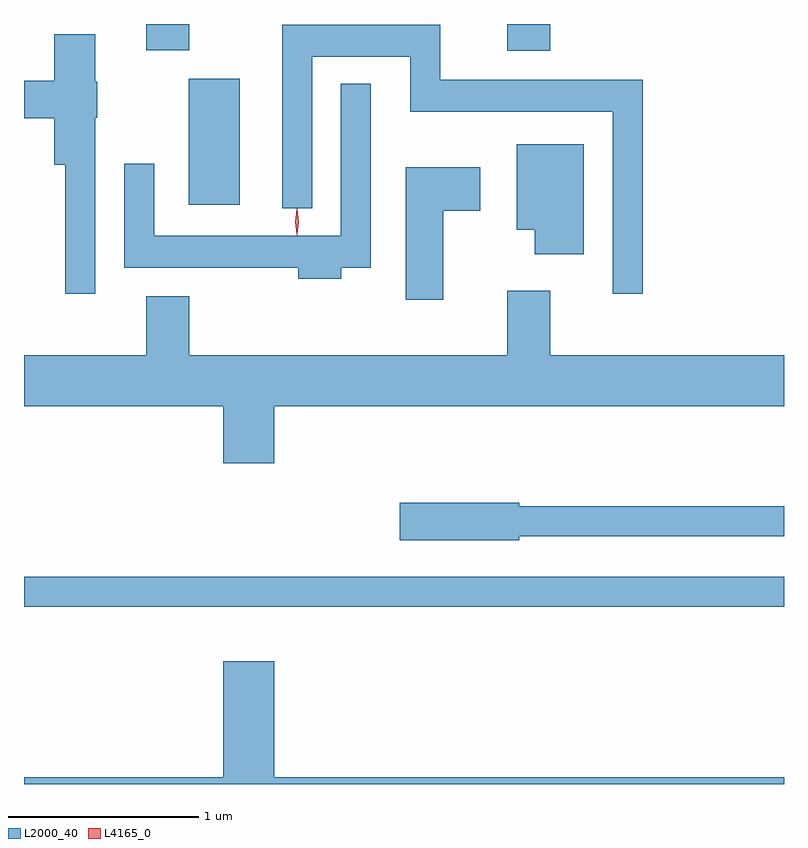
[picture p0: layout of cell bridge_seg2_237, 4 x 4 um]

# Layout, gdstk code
import gdstk
lib = gdstk.Library(unit=1e-6, precision=1e-09)
def R(c, l, rs):  # rectangles x0, y0, x1, y1
    for r in rs: c.add(gdstk.rectangle(r[:2], r[2:], *l))
def P(c, l, *ps):  # polygons
    for p in ps: c.add(gdstk.Polygon(p, *l))
L2000_40 = (2000, 40)
L4165_0 = (4165, 0)

bridge_seg2_237 = lib.new_cell('bridge_seg2_237')
R(bridge_seg2_237, L2000_40, [(553.688,1053.921,557.688,1054.079), (554.556,1056.036,554.824,1056.699), (556.231,1056.846,556.459,1056.988), (554.331,1056.851,554.559,1056.988)])
P(bridge_seg2_237, L2000_40, [(556.944,1056.694),(555.879,1056.694),(555.879,1056.984),(555.046,1056.984),(555.046,1056.018),(555.204,1056.018),(555.204,1056.816),(555.721,1056.816),(555.721,1056.526),(556.786,1056.526),(556.786,1055.568),(556.944,1055.568)],
  [(554.064,1056.495),(554.074,1056.495),(554.074,1056.685),(554.064,1056.685),(554.064,1056.934),(553.846,1056.934),(553.846,1056.689),(553.688,1056.689),(553.688,1056.491),(553.846,1056.491),(553.846,1056.246),(553.906,1056.246),(553.906,1055.568),(554.064,1055.568)],
  [(555.359,1055.706),(555.514,1055.706),(555.514,1056.673),(555.356,1056.673),(555.356,1055.874),(554.374,1055.874),(554.374,1056.253),(554.216,1056.253),(554.216,1055.706),(555.131,1055.706),(555.131,1055.646),(555.359,1055.646)],
  [(556.634,1056.354),(556.281,1056.354),(556.281,1055.906),(556.376,1055.906),(556.376,1055.776),(556.634,1055.776)],
  [(555.894,1056.006),(556.089,1056.006),(556.089,1056.234),(555.696,1056.234),(555.696,1055.536),(555.894,1055.536)],
  [(555.004,1054.976),(557.688,1054.976),(557.688,1055.244),(556.459,1055.244),(556.459,1055.584),(556.231,1055.584),(556.231,1055.244),(554.559,1055.244),(554.559,1055.554),(554.331,1055.554),(554.331,1055.244),(553.688,1055.244),(553.688,1054.976),(554.736,1054.976),(554.736,1054.676),(555.004,1054.676)],
  [(556.294,1054.291),(557.688,1054.291),(557.688,1054.449),(556.294,1054.449),(556.294,1054.469),(555.666,1054.469),(555.666,1054.271),(556.294,1054.271)],
  [(557.688,1053.024),(555.004,1053.024),(555.004,1053.634),(554.736,1053.634),(554.736,1053.024),(553.688,1053.024),(553.688,1052.988),(557.688,1052.988)])
P(bridge_seg2_237, L4165_0, [(555.125,1055.879),(555.124,1055.88),(555.115,1055.946),(555.124,1056.012),(555.125,1056.013),(555.125,1056.012),(555.135,1055.946),(555.125,1055.88)],
  [(555.125,1055.877),(555.124,1055.878),(555.115,1055.946),(555.124,1056.016),(555.125,1056.016),(555.125,1056.016),(555.135,1055.946),(555.125,1055.878)])

lib.write_gds('bridge_seg2_237.gds')
